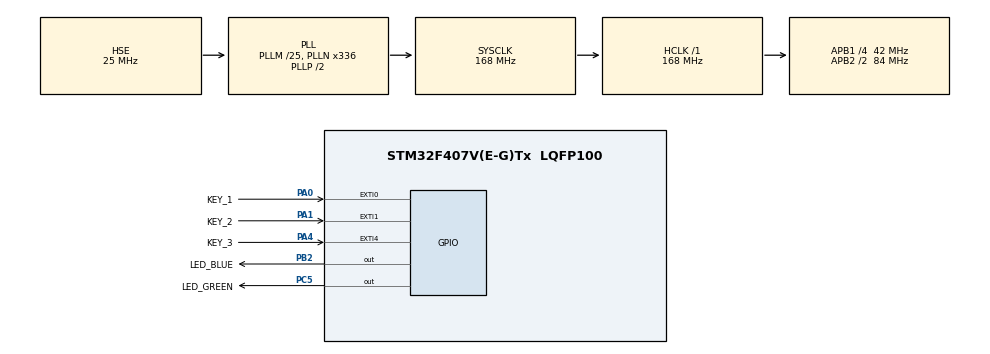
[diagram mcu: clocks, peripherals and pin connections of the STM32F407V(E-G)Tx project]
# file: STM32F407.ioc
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Mcu.Family=STM32F4
Mcu.Name=STM32F407V(E-G)Tx
Mcu.Package=LQFP100
NVIC.EXTI0_IRQn=true\:0\:0\:false\:false\:true\:true\:true\:true
NVIC.EXTI1_IRQn=true\:0\:0\:false\:false\:true\:true\:true\:true
NVIC.EXTI4_IRQn=true\:0\:0\:false\:false\:true\:true\:true\:true
NVIC.PriorityGroup=NVIC_PRIORITYGROUP_4
PA0-WKUP.GPIO_Label=KEY_1
PA0-WKUP.GPIO_ModeDefaultEXTI=GPIO_MODE_IT_RISING
PA0-WKUP.GPIO_PuPd=GPIO_PULLDOWN
PA0-WKUP.Signal=GPXTI0
PA1.GPIO_Label=KEY_2
PA1.GPIO_ModeDefaultEXTI=GPIO_MODE_IT_FALLING
PA1.GPIO_PuPd=GPIO_PULLUP
PA1.Signal=GPXTI1
PA13.Mode=Serial_Wire
PA13.Signal=SYS_JTMS-SWDIO
PA14.Mode=Serial_Wire
PA14.Signal=SYS_JTCK-SWCLK
PA4.GPIO_Label=KEY_3
PA4.GPIO_ModeDefaultEXTI=GPIO_MODE_IT_FALLING
PA4.GPIO_PuPd=GPIO_PULLUP
PA4.Signal=GPXTI4
PB2.GPIO_Label=LED_BLUE
PB2.Signal=GPIO_Output
PC5.GPIO_Label=LED_GREEN
PC5.Signal=GPIO_Output
PH0-OSC_IN.Mode=HSE-External-Oscillator
PH0-OSC_IN.Signal=RCC_OSC_IN
PH1-OSC_OUT.Mode=HSE-External-Oscillator
PH1-OSC_OUT.Signal=RCC_OSC_OUT
ProjectManager.HeapSize=0x400
ProjectManager.StackSize=0x1000
ProjectManager.TargetToolchain=MDK-ARM V5.32
RCC.48MHZClocksFreq_Value=84000000
RCC.AHBFreq_Value=168000000
RCC.APB1CLKDivider=RCC_HCLK_DIV4
RCC.APB1Freq_Value=42000000
RCC.APB1TimFreq_Value=84000000
RCC.APB2CLKDivider=RCC_HCLK_DIV2
RCC.APB2Freq_Value=84000000
RCC.APB2TimFreq_Value=168000000
RCC.CortexFreq_Value=168000000
RCC.HCLKFreq_Value=168000000
RCC.HSE_VALUE=25000000
RCC.HSI_VALUE=16000000
RCC.LSE_VALUE=32768
RCC.PLLM=25
RCC.PLLN=336
RCC.PLLSourceVirtual=RCC_PLLSOURCE_HSE
RCC.SYSCLKFreq_VALUE=168000000
RCC.SYSCLKSource=RCC_SYSCLKSOURCE_PLLCLK
RCC.VCOOutputFreq_Value=336000000
board=custom

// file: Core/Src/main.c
/* USER CODE BEGIN Header */
/**==================================================================================================================
 **【文件名称】  main.c
 **【功能测试】  ESP8266通信
 **==================================================================================================================
 **【实验平台】  STM32F407 + KEIL5.31 + ESP8266(ESP-12F)
 **
 **【实验操作】  接线操作：
 **                  1_USB转TTL：已板载USB转TTL功能, 使用的是UART1(PA9+PA10); 用USB线，连接电脑与开发板的CMSIS-DAP接口，即可;
 **                  2_ESP8266 ：已板载ESP8266模组; 其RX、TX引脚，位于开发板右侧排针上方，使用跳线帽，可以与相邻的USART3排针位相连接，即PB10,PB11，无需其它接线;
 **
 **              电脑端操作：
 **                  1_打开串口助手，设置参数 115200-None-8-1, 打开端口;
 **
 **              代码操作：
 **                  1_编译、无错误后，烧录！
 **
 **              测试现象：
 **                  1_本示例，可通过串口助手，发送AT指令, 记得Enter换行，或者打勾发送新行; 留意:发出的字节数=AT指令字符串长度+2(\r\n)
 **                  2_当AT指令正确时，ESP8266会发回执行信息，并在串口助手上显示;
 **
 **【移植说明】  1_复制本工程的UART文件夹，到目标工程文件夹中;
 **              2_添加头文件路径： Keil > Option > C/C++ > Include Paths, 添加刚才粘贴后的文件夹目录
 **              3_添加C文件到工程: Keil > 左侧工程管理器中双击目标文件夹 > 选择 bsp_UART.c;
 **              4_添加文件引用:    #include "bsp_UART.h＂，即哪个文件中需要使用其函数功能，就在其代码文件顶部添加引用;
 **
 **【划 重 点】  1_如果使用的是外接的ESP8266模块, 连线：VCC接3.3V, IO0、EN、RST这3引脚接3.3V，IO15、GND这2引脚接GND, TXD、RXD这2引脚可以通过排针右上角的中线帽连接接USART3;
 **              2_ESP8266信号问题: 因为模块使用的是板载天线，信号比较弱，不能离路由器过远，适合8米内操作;
 **              3_固件：ESP8266已烧录厂家默认的AT固件; 如果需要上云，则需要重新烧录MQTT-AT固件, 在本示例文件夹中，已收录MQTT-AT固件、烧录软件、图解参考;
 **              4_AT命令：大写、前后不带空格、"\r\n"作结尾;
 **
 **【更新记录】  2025-11-04  移除bsp_ESP8266文件 ，直接使用bsp_UART文件
 **              2024-07-05  移植至HAL库
 **              2022-10-17  完善注释
 **              2021-12-26  完善代码结构、注释
 **              2021-12-03  创建
 **
 **【备注说明】  版权归魔女科技所有，请勿商用，谢谢！
 **              https://demoboard.taobao.com
====================================================================================================================*/
/* USER CODE END Header */
#include "main.h"
#include "gpio.h"

/* USER CODE BEGIN Includes */
/* 用户代码，必须写在配对的BEGIN与END之间，否则CubeMX重新生成后，会被删除掉 */

#include "bsp_UART.h"            // 串口通信底层驱动文件; 已重写好初始化、收发，调用函数即可使用串口

/* USER CODE END Includes */

void SystemClock_Config(void);

int main(void)
{
    /* USER CODE BEGIN 1 */

    /* 说明：
     * 1. 不要删除CubeMX生成的注释行（形如 USER CODE BEGIN/END），这些注释用于代码重新生成时的定位
     * 2. 所有用户自定义代码必须写在对应的BEGIN与END注释行之间，否则重新生成时会被覆盖
     * 3. 主要初始化函数说明：
     *    - HAL_Init()            初始化HAL库，配置中断优先级、系统时基等
     *    - SystemClock_Config()  配置系统时钟
     *    - MX_GPIO_Init()        初始化GPIO引脚（仅包含推挽输出、中断触发等配置）
     *    - 外设功能引脚（如UART、SPI等）的初始化在各自的功能文件中
     */

    /* USER CODE END 1 */

    /* MCU Configuration--------------------------------------------------------*/

    /* Reset of all peripherals, Initializes the Flash interface and the Systick. */
    HAL_Init();

    /* Configure the system clock */
    SystemClock_Config();

    /* Initialize all configured peripherals */
    MX_GPIO_Init();
    /* USER CODE BEGIN 2 */
    /* 用户代码，必须写在配对的BEGIN与END之间 */

    HAL_GPIO_WritePin(GPIOC, GPIO_PIN_5, GPIO_PIN_SET);                    // 引脚置高电平，绿亮灭

    UART1_Init(115200);                                                    // 初始化 串口1; 已写好底层，调用h中的函数即可使用; 引脚(PA9 +PA10)、波特率-None-8-1; 如果使用CubeMX配置，请使用前述引脚，但，不要在MX上进行中断及DMA配置，否则冲突

    UART3_Init(115200);                                                    // 初始化 UART3; 参数：波特率, 注意：波特率默认为115200

    /* USER CODE END 2 */

    /* Infinite loop */
    while (1)
    {

        /* USER CODE BEGIN 3 */
        /* 用户代码，必须写在配对的BEGIN与END之间 */

        /** 1ms延时 **/
        HAL_Delay(1 - 1);                                                  // 延时函数，参数：ms; 特别地：CubeMX生成的HAL_Delay(), 函数内部为避免无效操作，会对传入参数+1，因此，如果只需要几ms延时建议传入参数时-1，如果需要大几百ms的非精准延时，那参数不-1也影响不大

        /** 检查UART1是否收到数据 (串口助手) **/
        if (UART1_GetRxNum())                                              // 判断USART1是否获取到新一帧数据：函数返回的接收字节数，大于0，即为收到新一帧数据
        {
            uint16_t num = UART1_GetRxNum();                               // 获取接收到的字节数
            uint8_t *pData = UART1_GetRxData();                            // 获取接收到的数据(缓存的地址)
            printf("\r>>>准备向 ESP8266 发送以下数据：\r");                // 提示
            printf(">>>长度：%d 字节\r", UART1_GetRxNum());                // 显示字节数
            printf(">>>内容：%s \r", (char *)UART1_GetRxData());           // 显示数据，以ASCII方式显示，即以字符串的方式显示
            UART3_SendString((char *)UART1_GetRxData());                   // 把上位机发过来的数据，发送到ESP8266
            UART1_ClearRx();                                               // 清0本次接收; 每一次处理接收的数据后，要清0，才能进行下一轮的判断接收;
        }

        /** 判断ESP8266是否接收到新数据，打印，并处理 **/
        if (UART3_GetRxNum())                                              // 检查ESP8266所用的串口是否收到数据
        {
            uint16_t num = UART3_GetRxNum();                               // 获取接收到的字节数
            uint8_t *pData = UART3_GetRxData();                            // 获取接收到的数据(缓存的地址)
            printf("\r<<<ESP8266 返回以下数据：\r");                       // 提示
            printf("<<<长度：%d 字节\r", num);                             // 显示字节数
            printf("%s \r\n", pData);                                      // 显示数据，以ASCII方式显示，即以字符串的方式显示
            UART3_ClearRx();                                               // 清0本次接收; 每一次处理接收的数据后，要清0，才能进行下一轮的判断接收;
        }

        /** 每500ms规律地闪烁绿色LED, 便于观察程序是否运行、卡死 **/
        static uint32_t lastTime_500ms = 0;                                // 定义静态变量，用于记录上次执行这个任务的时间点(单位：毫秒)
        if (HAL_GetTick() - lastTime_500ms >= 500)                         // 检查当前时间距离上次执行是否已经过了500ms; HAL_GetTick()是获取启动后经过的毫秒数;
        {
            HAL_GPIO_TogglePin(GPIOC, GPIO_PIN_5);                         // 控制绿色LED引脚电平翻转(PC5); 规律地闪烁LED，方便外部观察系统是否正常运行
            lastTime_500ms =   HAL_GetTick();                              // 记录当前时间，作为新的基准点，为下一次判断做准备
        }
    }

    /* USER CODE END 3 */
}

void SystemClock_Config(void)
{
    RCC_OscInitTypeDef RCC_OscInitStruct = {0};
    RCC_ClkInitTypeDef RCC_ClkInitStruct = {0};

    /** Configure the main internal regulator output voltage
    */
    __HAL_RCC_PWR_CLK_ENABLE();
    __HAL_PWR_VOLTAGESCALING_CONFIG(PWR_REGULATOR_VOLTAGE_SCALE1);

    /** Initializes the RCC Oscillators according to the specified parameters
    * in the RCC_OscInitTypeDef structure.
    */
    RCC_OscInitStruct.OscillatorType = RCC_OSCILLATORTYPE_HSE;
    RCC_OscInitStruct.HSEState = RCC_HSE_ON;
    RCC_OscInitStruct.PLL.PLLState = RCC_PLL_ON;
    RCC_OscInitStruct.PLL.PLLSource = RCC_PLLSOURCE_HSE;
    RCC_OscInitStruct.PLL.PLLM = 25;
    RCC_OscInitStruct.PLL.PLLN = 336;
    RCC_OscInitStruct.PLL.PLLP = RCC_PLLP_DIV2;
    RCC_OscInitStruct.PLL.PLLQ = 4;
    if (HAL_RCC_OscConfig(&RCC_OscInitStruct) != HAL_OK)
    {
        Error_Handler();
    }

    /** Initializes the CPU, AHB and APB buses clocks
    */
    RCC_ClkInitStruct.ClockType = RCC_CLOCKTYPE_HCLK | RCC_CLOCKTYPE_SYSCLK
                                  | RCC_CLOCKTYPE_PCLK1 | RCC_CLOCKTYPE_PCLK2;
    RCC_ClkInitStruct.SYSCLKSource = RCC_SYSCLKSOURCE_PLLCLK;
    RCC_ClkInitStruct.AHBCLKDivider = RCC_SYSCLK_DIV1;
    RCC_ClkInitStruct.APB1CLKDivider = RCC_HCLK_DIV4;
    RCC_ClkInitStruct.APB2CLKDivider = RCC_HCLK_DIV2;

    if (HAL_RCC_ClockConfig(&RCC_ClkInitStruct, FLASH_LATENCY_5) != HAL_OK)
    {
        Error_Handler();
    }
}

/* USER CODE BEGIN 4 */
/* 所有用户代码，必须写在配对的BEGIN与END之间 */

/******************************************************************************
 * 函  数： HAL_GPIO_EXTI_Callback
 * 功  能： EXTI中断回调函数
 * 参  数： uint16_t  GPIO_Pin    引脚编号，参数范围：GPIO_Pin_0 ~ GPIO_Pin_15
 * 返回值： 无
 * 备  注： CubeMX生成的代码在思维和风格上，与使用标准库编写时有很大的区别：
 *          1：这个是回调函数，不是中断服务函数。完整的调用：EXTIx_IRQHandler() > HAL_GPIO_EXTI_IRQHandler(GPIO_PIN_x) > HAL_GPIO_EXTI_Callback(GPIO_PIN_x)
 *          2：必须使用这个函数名称，因为它在CubeMX生成时，已被写好了各种函数调用、函数弱定义(在stm32xx_hal_gpio.c的底部); 不建议在原弱定义中增添代码，而是重写本函数
 *          3：中断条件触发后，本函数被自动调用，无需进行人工调用; 也无需进行中断标志的清理，因为HAL_GPIO_EXTI_IRQHandler()函数中已有操作;
 *          4：生成的所有EXTI中断服务函数，都统一调用这个函数，以引脚编号作参数
 *          5：判断参数传进来的引脚编号，即可知道是哪个外部中断线产生的中断信号
******************************************************************************/
void HAL_GPIO_EXTI_Callback(uint16_t GPIO_Pin)
{
    if (GPIO_Pin == KEY_1_Pin)                                  // 按键1 产生的中断信号：KEY_1、PA0、闲时下拉、按下时高电平、上升沿触发
    {
        HAL_GPIO_TogglePin(GPIOB, GPIO_PIN_2);                  // 反转蓝色LED灯
        printf("KEY_1 按下\r");                                 // 通过串口助手输出提示
    }

    if (GPIO_Pin == KEY_2_Pin)                                  // 按键2 产生的中断信号：KEY_2、PA1、闲时上拉、按下时低电平、下降沿触发
    {
        HAL_GPIO_TogglePin(GPIOB, GPIO_PIN_2);                  // 反转蓝色LED灯
        printf("KEY_2 按下\r");                                 // 通过串口助手输出提示
    }

    if (GPIO_Pin == KEY_3_Pin)                                  // 按键3 产生的中断信号：KEY_3、PA4、闲时上拉、按下低高电平、下降沿触发
    {
        HAL_GPIO_TogglePin(GPIOB, GPIO_PIN_2);                  // 反转蓝色LED灯
        printf("KEY_3 按下\r");                                 // 通过串口助手输出提示
    }

}

/* USER CODE END 4 */

void Error_Handler(void)
{
    __disable_irq();
    while (1)
    {
    }
}
